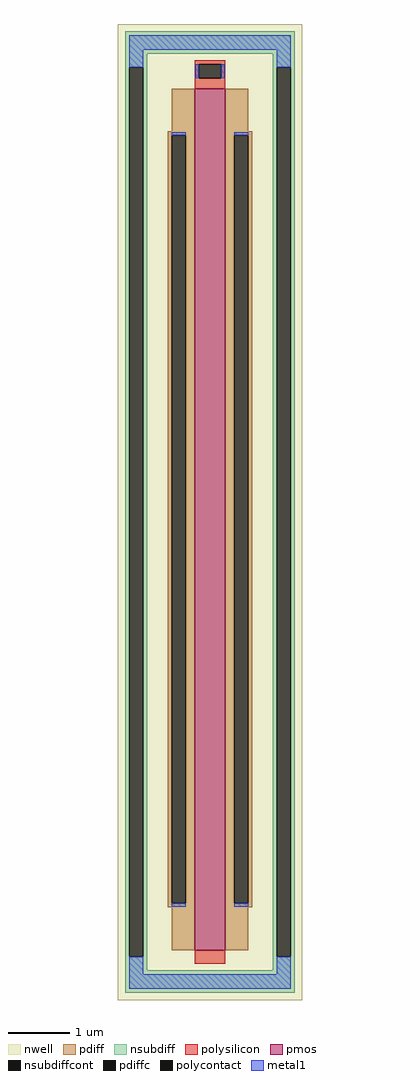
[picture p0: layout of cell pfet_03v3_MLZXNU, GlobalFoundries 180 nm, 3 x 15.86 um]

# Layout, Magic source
magic
tech gf180mcuD
magscale 1 10
<< nwell >>
rect -300 -1586 300 1586
<< pmos >>
rect -50 -1424 50 1376
<< pdiff >>
rect -125 1237 -50 1376
rect -138 1224 -50 1237
rect -138 -1272 -125 1224
rect -79 -1272 -50 1224
rect -138 -1285 -50 -1272
rect -125 -1424 -50 -1285
rect 50 1237 125 1376
rect 50 1224 138 1237
rect 50 -1272 79 1224
rect 125 -1272 138 1224
rect 50 -1285 138 -1272
rect 50 -1424 125 -1285
<< pdiffc >>
rect -125 -1272 -79 1224
rect 79 -1272 125 1224
<< nsubdiff >>
rect -276 1490 276 1562
rect -276 1446 -204 1490
rect -276 -1446 -263 1446
rect -217 -1446 -204 1446
rect 204 1446 276 1490
rect -276 -1490 -204 -1446
rect 204 -1446 217 1446
rect 263 -1446 276 1446
rect 204 -1490 276 -1446
rect -276 -1562 276 -1490
<< nsubdiffcont >>
rect -263 -1446 -217 1446
rect 217 -1446 263 1446
<< polysilicon >>
rect -50 1455 50 1468
rect -50 1409 -37 1455
rect 37 1409 50 1455
rect -50 1376 50 1409
rect -50 -1468 50 -1424
<< polycontact >>
rect -37 1409 37 1455
<< metal1 >>
rect -263 1503 263 1549
rect -263 1446 -217 1503
rect -48 1409 -37 1455
rect 37 1409 48 1455
rect 217 1446 263 1503
rect -125 1224 -79 1235
rect -125 -1283 -79 -1272
rect 79 1224 125 1235
rect 79 -1283 125 -1272
rect -263 -1503 -217 -1446
rect 217 -1503 263 -1446
rect -263 -1549 263 -1503
<< properties >>
string FIXED_BBOX -240 -1526 240 1526
string gencell pfet_03v3
string library gf180mcu
string parameters w 14.0 l 0.5 m 1 nf 1 diffcov 90 polycov 100 guard 1 glc 1 grc 1 gtc 0 gbc 0 tbcov 100 rlcov 100 topc 1 botc 0 poverlap 0 doverlap 1 lmin 0.28 wmin 0.22 class mosfet full_metal 1 compatible {pfet_03v3 pfet_05v0 pfet_06v0}
<< end >>
